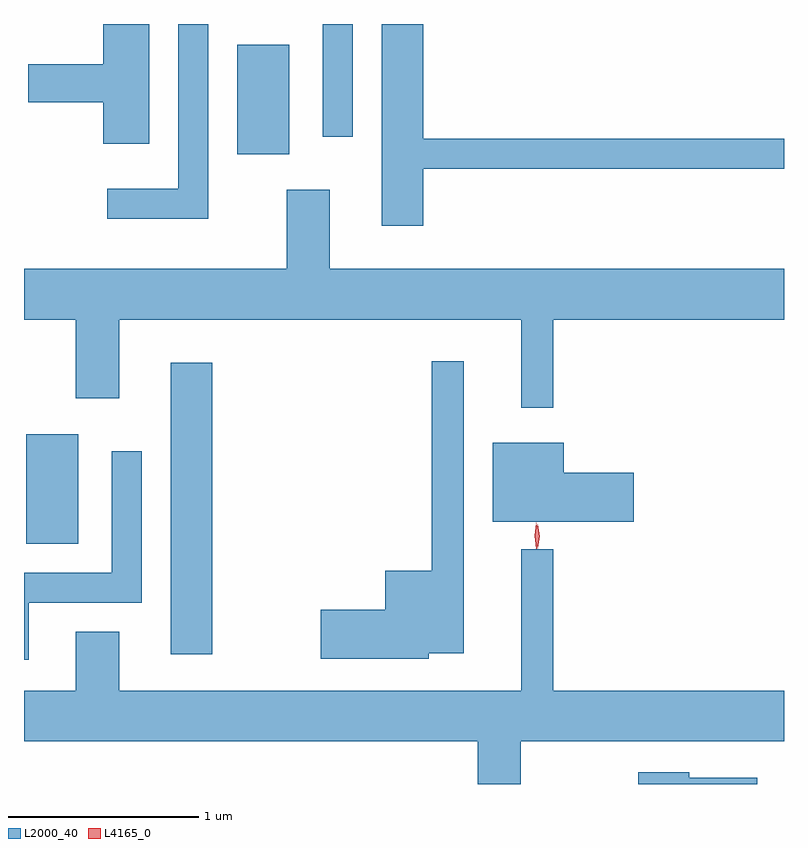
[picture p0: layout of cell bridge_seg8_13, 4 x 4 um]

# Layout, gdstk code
import gdstk
lib = gdstk.Library(unit=1e-6, precision=1e-09)
def R(c, l, rs):  # rectangles x0, y0, x1, y1
    for r in rs: c.add(gdstk.rectangle(r[:2], r[2:], *l))
def P(c, l, *ps):  # polygons
    for p in ps: c.add(gdstk.Polygon(p, *l))
L2000_40 = (2000, 40)
L4165_0 = (4165, 0)

bridge_seg8_13 = lib.new_cell('bridge_seg8_13')
R(bridge_seg8_13, L2000_40, [(1723.396,1936.776,1723.614,1938.309), (1722.636,1937.356,1722.909,1937.934), (1723.746,1939.406,1724.019,1939.984), (1724.196,1939.498,1724.354,1940.092)])
P(bridge_seg8_13, L2000_40, [(1724.724,1939.331),(1726.624,1939.331),(1726.624,1939.489),(1724.724,1939.489),(1724.724,1940.092),(1724.506,1940.092),(1724.506,1939.031),(1724.724,1939.031)],
  [(1723.594,1940.092),(1723.436,1940.092),(1723.436,1939.224),(1723.063,1939.224),(1723.063,1939.066),(1723.594,1939.066)],
  [(1723.284,1940.092),(1723.041,1940.092),(1723.041,1939.879),(1722.646,1939.879),(1722.646,1939.681),(1723.041,1939.681),(1723.041,1939.461),(1723.284,1939.461)],
  [(1725.409,1938.536),(1726.624,1938.536),(1726.624,1938.804),(1724.234,1938.804),(1724.234,1939.219),(1724.006,1939.219),(1724.006,1938.804),(1722.624,1938.804),(1722.624,1938.536),(1722.896,1938.536),(1722.896,1938.121),(1723.124,1938.121),(1723.124,1938.536),(1725.241,1938.536),(1725.241,1938.073),(1725.409,1938.073)],
  [(1724.754,1936.781),(1724.939,1936.781),(1724.939,1938.318),(1724.771,1938.318),(1724.771,1937.214),(1724.526,1937.214),(1724.526,1937.009),(1724.186,1937.009),(1724.186,1936.751),(1724.754,1936.751)],
  [(1725.834,1937.729),(1725.464,1937.729),(1725.464,1937.889),(1725.091,1937.889),(1725.091,1937.471),(1725.834,1937.471)],
  [(1722.649,1937.046),(1723.244,1937.046),(1723.244,1937.843),(1723.086,1937.843),(1723.086,1937.204),(1722.624,1937.204),(1722.624,1936.746),(1722.649,1936.746)],
  [(1725.239,1936.316),(1726.624,1936.316),(1726.624,1936.584),(1725.409,1936.584),(1725.409,1937.328),(1725.241,1937.328),(1725.241,1936.584),(1723.124,1936.584),(1723.124,1936.894),(1722.896,1936.894),(1722.896,1936.584),(1722.624,1936.584),(1722.624,1936.316),(1725.011,1936.316),(1725.011,1936.092),(1725.239,1936.092)],
  [(1726.484,1936.124),(1726.124,1936.124),(1726.124,1936.154),(1725.856,1936.154),(1725.856,1936.092),(1726.484,1936.092)])
P(bridge_seg8_13, L4165_0, [(1725.321,1937.33),(1725.321,1937.33),(1725.311,1937.398),(1725.319,1937.465),(1725.32,1937.466),(1725.32,1937.465),(1725.33,1937.398),(1725.322,1937.33)],
  [(1725.328,1937.333),(1725.328,1937.333),(1725.318,1937.396),(1725.328,1937.459),(1725.328,1937.46),(1725.329,1937.459),(1725.338,1937.396),(1725.329,1937.333)])

lib.write_gds('bridge_seg8_13.gds')
